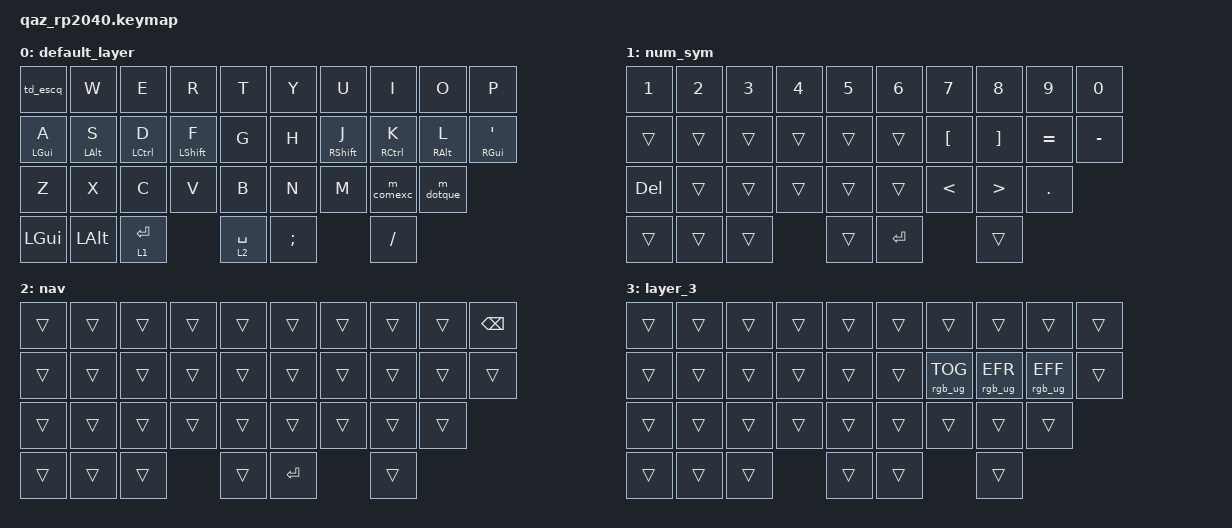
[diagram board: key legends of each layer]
/*
 * Copyright (c) 2024 The ZMK Contributors
 *
 * SPDX-License-Identifier: MIT
 */

#include <behaviors.dtsi>
#include <dt-bindings/zmk/keys.h>
#include <dt-bindings/zmk/rgb.h>

/ {
    combos {
        compatible = "zmk,combos";

        cmb_boot {
            bindings = <&bootloader>;
            key-positions = <0 9 34 29>;
        };

        cmb_tab_right {
            bindings = <&kp TAB>;
            key-positions = <27 26>;
            layers = <0>;
        };

        cmb_ret_right {
            bindings = <&kp RET>;
            key-positions = <27 28 26>;
            layers = <0>;
        };

        cmb_reset {
            bindings = <&sys_reset>;
            key-positions = <0 20 9 28>;
        };

        cmb_ret_left {
            bindings = <&kp RET>;
            key-positions = <21 22 23>;
            layers = <0>;
        };

        cmb_tab_left {
            bindings = <&kp TAB>;
            key-positions = <22 23>;
            timeout-ms = <30>;
        };

        cmb_soft_off {
            bindings = <&soft_off>;
            key-positions = <19 10 34 29>;
        };
    };

    macros {
        as: as {
            compatible = "zmk,behavior-macro-one-param";
            #binding-cells = <1>;
            bindings =
                <&macro_press>,
                <&macro_param_1to1 &macro_param_1to2 &as_ht MACRO_PLACEHOLDER MACRO_PLACEHOLDER>,
                <&macro_pause_for_release>,
                <&macro_release>,
                <&macro_param_1to1 &macro_param_1to2 &as_ht MACRO_PLACEHOLDER MACRO_PLACEHOLDER>;

            display-name = "Auto-Shift";
        };

        shifted: shifted {
            compatible = "zmk,behavior-macro-one-param";
            #binding-cells = <1>;
            bindings =
                <&macro_press>,
                <&kp LSHIFT &macro_param_1to1>,
                <&macro_tap>,
                <&kp MACRO_PLACEHOLDER>,
                <&macro_release>,
                <&kp LSHIFT>;

            display-name = "Shifted";
        };

        lm: lm {
            compatible = "zmk,behavior-macro-two-param";
            #binding-cells = <2>;
            bindings =
                <&macro_param_1to1>,
                <&macro_press>,
                <&mo MACRO_PLACEHOLDER &macro_param_2to1 &kp MACRO_PLACEHOLDER>,
                <&macro_pause_for_release>,
                <&macro_param_2to1>,
                <&macro_release>,
                <&kp MACRO_PLACEHOLDER &macro_param_1to1 &mo MACRO_PLACEHOLDER>;

            display-name = "Layer Mod";
        };
    };

    behaviors {
        as_ht: as_ht {
            compatible = "zmk,behavior-hold-tap";
            bindings = <&shifted>, <&kp>;

            #binding-cells = <2>;
            tapping-term-ms = <200>;
            quick-tap-ms = <200>;
            require-prior-idle-ms = <125>;
            flavor = "balanced";
        };

        lmt: lmt {
            compatible = "zmk,behavior-hold-tap";
            display-name = "Left Mod-Tap";
            bindings = <&kp>, <&kp>;

            #binding-cells = <2>;
            tapping-term-ms = <200>;
            quick-tap-ms = <200>;
            require-prior-idle-ms = <125>;
            hold-trigger-key-positions = <36 28 19 9 8 18 6 7 8 16 17 18 25 26 27 28 33 34 35 15 5 32>;
        };

        rmt: rmt {
            compatible = "zmk,behavior-hold-tap";
            display-name = "Right Mod-Tap";
            bindings = <&kp>, <&kp>;

            #binding-cells = <2>;
            tapping-term-ms = <200>;
            quick-tap-ms = <200>;
            require-prior-idle-ms = <125>;
            hold-trigger-key-positions = <0 1 2 3 4 10 11 12 13 14 20 21 22 23 24 29 30 31 32 33>;
        };

        m_dotque: m_dotque {
            compatible = "zmk,behavior-mod-morph";
            display-name = "Dot-Question";
            bindings = <&kp DOT>, <&kp SLASH>;

            #binding-cells = <0>;
            mods = <(MOD_LSFT)>;
            keep-mods = <(MOD_LSFT)>;
        };

        m_comexc: m_comexc {
            compatible = "zmk,behavior-mod-morph";
            display-name = "Comma-Exclamation";
            bindings = <&kp COMMA>, <&kp EXCL>;

            #binding-cells = <0>;
            mods = <(MOD_LSFT)>;
        };

        td_escq: td_escq {
            compatible = "zmk,behavior-tap-dance";
            display-name = "Q/L3, Esc";
            #binding-cells = <0>;
            bindings = <&lt 3 Q>, <&kp ESC>;
        };
    };

    chosen { zmk,physical-layout = &hhkb_split_bar_layout; };

    keymap {
        compatible = "zmk,keymap";

        default_layer {
            bindings = <
&td_escq     &kp W        &kp E         &kp R         &kp T        &kp Y     &kp U         &kp I         &kp O        &kp P
&lmt LGUI A  &lmt LALT S  &lmt LCTRL D  &lmt LSHFT F  &kp G        &kp H     &rmt RSHFT J  &rmt RCTRL K  &rmt RALT L  &rmt RGUI SINGLE_QUOTE
&kp Z        &kp X        &kp C         &kp V         &kp B        &kp N     &kp M         &m_comexc     &m_dotque
&kp LGUI     &kp LALT     &lt 1 RET                   &lt 2 SPACE  &kp SEMI                &kp FSLH
            >;
        };

        num_sym {
            bindings = <
&kp N1   &kp N2  &kp N3  &kp N4  &kp N5  &kp N6   &kp N7    &kp N8    &kp N9     &kp N0
&trans   &trans  &trans  &trans  &trans  &trans   &kp LBKT  &kp RBKT  &kp EQUAL  &kp MINUS
&kp DEL  &trans  &trans  &trans  &trans  &trans   &kp LT    &kp GT    &kp DOT
&trans   &trans  &trans          &trans  &kp RET            &trans
            >;
        };

        nav {
            bindings = <
&trans  &trans  &trans  &trans  &trans  &trans   &trans  &trans  &trans  &kp BSPC
&trans  &trans  &trans  &trans  &trans  &trans   &trans  &trans  &trans  &trans
&trans  &trans  &trans  &trans  &trans  &trans   &trans  &trans  &trans
&trans  &trans  &trans          &trans  &kp RET          &trans
            >;
        };

        layer_3 {
            bindings = <
&trans  &trans  &trans  &trans  &trans  &trans  &trans           &trans           &trans           &trans
&trans  &trans  &trans  &trans  &trans  &trans  &rgb_ug RGB_TOG  &rgb_ug RGB_EFR  &rgb_ug RGB_EFF  &trans
&trans  &trans  &trans  &trans  &trans  &trans  &trans           &trans           &trans
&trans  &trans  &trans          &trans  &trans                   &trans
            >;
        };
    };
};
